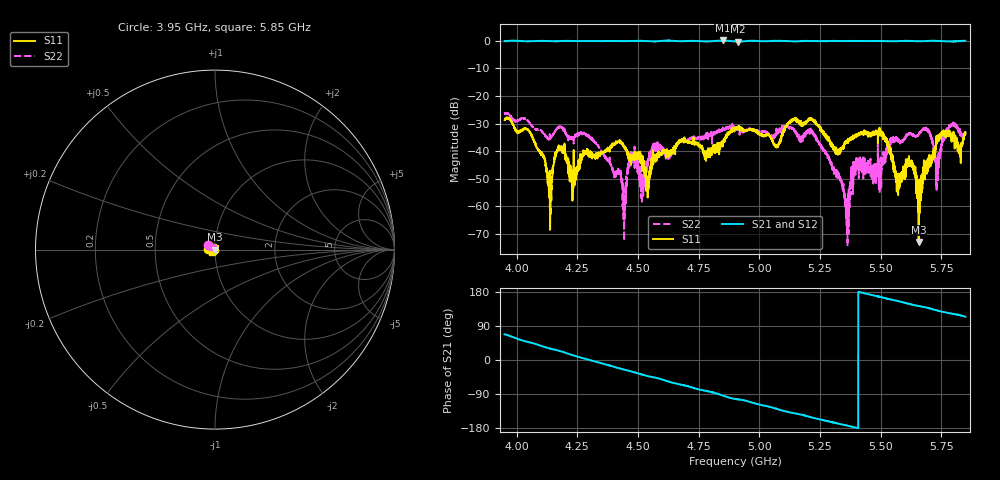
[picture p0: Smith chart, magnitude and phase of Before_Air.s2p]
# GHZ S RI R 50.000000000000
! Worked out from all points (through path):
!   4501 points, 3.95 GHz to 5.85 GHz, reference 50 ohm
!   highest |S21| = 0.09 dB at 4.851 GHz (marker M1); lowest = -0.3 dB at 4.912 GHz (marker M2)
!   group delay of S21, straight-line fit = 452 ps
!   lowest |S11| = -72.8 dB at 5.657 GHz (marker M3), VSWR 1.00, Z = 50 - j0.0121 ohm
!   |S11| at or under -10 dB: start of sweep to end of sweep
!   |S22| runs from -74.4 to -26.1 dB; largest |S21 - S12| = 0.045
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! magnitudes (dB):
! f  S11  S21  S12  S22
! 3.95 GHz  -28.7  -0.1  -0.2  -26.6
! 4.056 GHz  -33.3  -0.2  -0.2  -30.1
! 4.137 GHz  -59.0  -0.2  -0.1  -35.5
! 4.173 GHz  -39.0  -0.2  -0.2  -31.3
! 4.23 GHz  -49.4  -0.1  -0.1  -35.4
! 4.267 GHz  -42.2  -0.1  -0.1  -33.8
! 4.441 GHz  -38.2  -0.1  -0.2  -58.7
! 4.472 GHz  -41.6  -0.1  -0.1  -40.3
! 4.541 GHz  -49.4  -0.2  -0.2  -43.9
! 4.584 GHz  -41.6  -0.2  -0.2  -38.5
! 4.851 GHz  -37.4  0.1  0.1  -31.4
! 4.9 GHz  -32.0  -0.3  -0.2  -31.6
! 4.912 GHz  -31.7  -0.3  -0.3  -31.0
! 5.071 GHz  -38.8  -0.1  -0.1  -31.8
! 5.217 GHz  -28.5  -0.1  -0.1  -33.2
! 5.363 GHz  -36.1  -0.1  -0.1  -70.0
! 5.397 GHz  -34.4  -0.1  -0.1  -45.5
! 5.534 GHz  -38.6  -0.2  -0.1  -37.8
! 5.657 GHz  -72.8  -0.2  -0.2  -34.1
! 5.738 GHz  -34.2  -0.1  -0.1  -44.4
! 5.784 GHz  -34.0  -0.2  -0.3  -31.4
! 5.85 GHz  -33.6  0.0  0.0  -33.5
